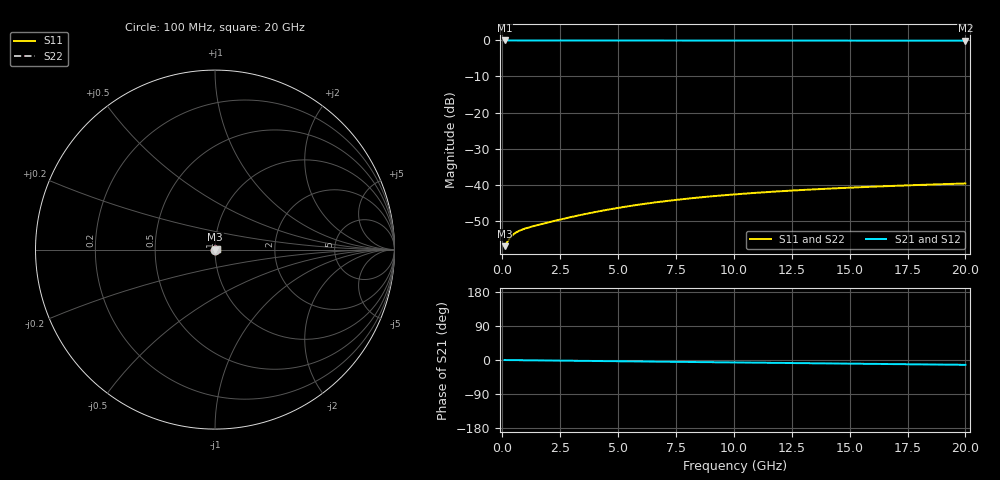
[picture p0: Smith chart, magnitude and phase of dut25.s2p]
! Touchstone file exported from HFSS 2026.1.0
!  File:  C:/ffzhzh/LocalFiles/Ansys_Project_Files/temp_train_TMRDL_25_1782880407_8056.aedt
!  Generated:  12:34:37 PM Jul  1, 2026
!  Design:  TMRDL
!  Project:  temp_train_TMRDL_25_1782880407_8056
! Variables:
!  h_bsmrdl = 2um
!  h_ox = 20um
!  h_rdl = 5um
!  h_sub = 80um
!  h_tmrdl = 3.28um
!  h_tsv = 80um
!  h_via = 3um
!  l_bsmrdl = 300um
!  l_sub = 618.75um
!  l_tmrdl = 218.75um
!  m_sub = 200um
!  pitch = 25.09um
!  r_tsv = 6um
!  s_tmrdl = 10um
!  w_bsmrdl = 18um
!  w_sub = 500um
!  w_tmrdl = 21.26um
!  x_tsv_center1 = 229.38um
!  x_tsv_center2 = 547.38um
!  x_tsv_center3 = 787.39um
!  x_tsv_center4 = 1105.39um
!  x_tsv_center5 = 1345.4um
!  x_tsv_center6 = 1663.4um
# GHz S MA R 50.000000
! Terminal data exported
! Port[1] = TM_RDL1_1_T1
! Port[2] = TM_RDL1_1_T2
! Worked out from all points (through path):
!   200 points, 100 MHz to 20 GHz, reference 50 ohm
!   highest |S21| = -0.01 dB at 100 MHz (marker M1); lowest = -0.1 dB at 20 GHz (marker M2)
!   group delay of S21, straight-line fit = 1.77 ps
!   lowest |S11| = -57.1 dB at 100 MHz (marker M3), VSWR 1.00, Z = 50.1 + j0.0281 ohm
!   |S11| at or under -10 dB: start of sweep to end of sweep
!   |S22| runs from -57.1 to -39.7 dB; largest |S21 - S12| = 2.1e-15
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0.1  0.001401 11.5  0.9986 -0.1  0.9986 -0.1  0.001401 11.5
! Gamma 0 0 0 0
! Port Impedance 50 0 50 0
0.3  0.001764 22.4  0.9984 -0.2  0.9984 -0.2  0.001763 22.4
0.4  0.00193 23.9  0.9982 -0.3  0.9982 -0.3  0.001929 23.8
0.5  0.002065 24.5  0.9981 -0.4  0.9981 -0.4  0.002063 24.5
0.6  0.002173 24.9  0.998 -0.4  0.998 -0.4  0.002171 24.9
0.8  0.002338 25.6  0.9979 -0.6  0.9979 -0.6  0.002336 25.7
1.1  0.002523 27.2  0.9977 -0.7  0.9977 -0.7  0.002522 27.3
1.7  0.002842 31.2  0.9976 -1.1  0.9976 -1.1  0.002843 31.2
2.6  0.003337 36.2  0.9974 -1.7  0.9974 -1.7  0.003338 36.2
3.5  0.003863 39.4  0.9971 -2.3  0.9971 -2.3  0.003864 39.4
4.3  0.004342 41.0  0.9969 -2.8  0.9969 -2.8  0.004342 41.1
5.1  0.004816 41.8  0.9966 -3.4  0.9966 -3.4  0.004816 41.8
5.9  0.005278 42.0  0.9963 -3.9  0.9963 -3.9  0.005277 42.0
6.8  0.005774 41.6  0.996 -4.4  0.996 -4.4  0.005774 41.6
7.6  0.006192 41.1  0.9957 -5.0  0.9957 -5.0  0.006192 41.1
8.4  0.006587 40.3  0.9954 -5.5  0.9954 -5.5  0.006586 40.3
10.1  0.00735 38.4  0.9948 -6.5  0.9948 -6.5  0.007349 38.5
11.7  0.007982 36.5  0.9942 -7.6  0.9942 -7.6  0.007981 36.5
13.4  0.008576 34.5  0.9937 -8.6  0.9937 -8.6  0.008575 34.5
15  0.009077 32.6  0.9932 -9.6  0.9932 -9.6  0.009075 32.7
16.7  0.009558 30.8  0.9928 -10.7  0.9928 -10.7  0.009555 30.8
20  0.01038 27.3  0.992 -12.8  0.992 -12.8  0.01037 27.3
